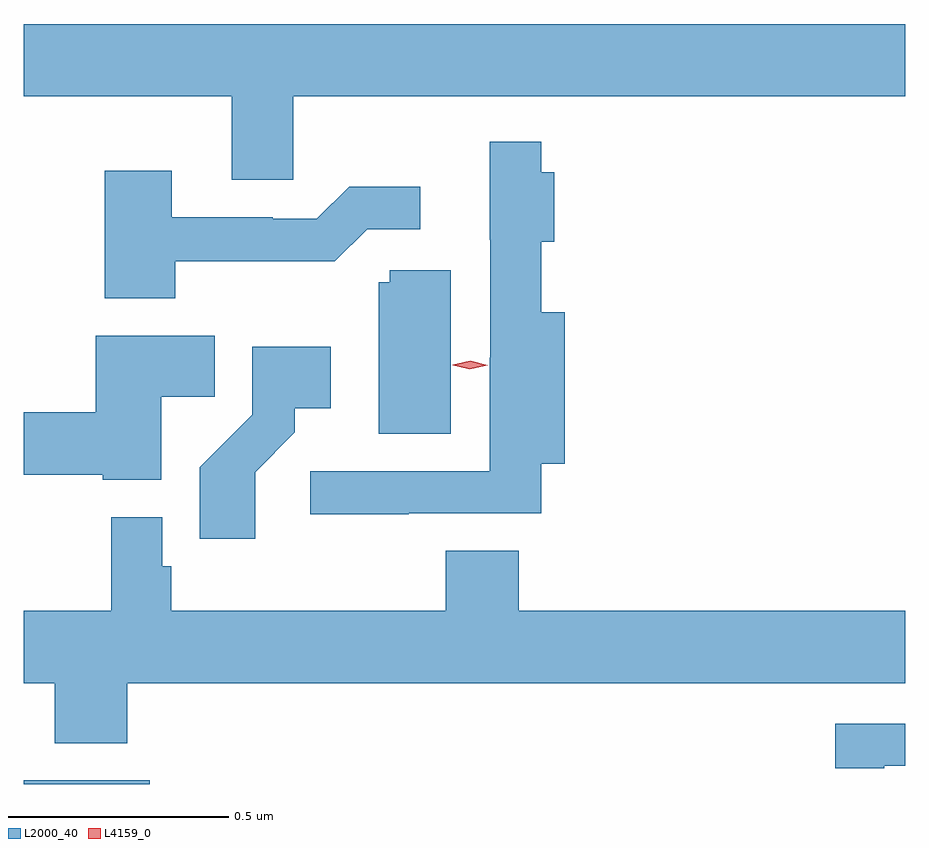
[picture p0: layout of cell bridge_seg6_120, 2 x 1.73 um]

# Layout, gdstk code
import gdstk
lib = gdstk.Library(unit=1e-6, precision=1e-09)
def R(c, l, rs):  # rectangles x0, y0, x1, y1
    for r in rs: c.add(gdstk.rectangle(r[:2], r[2:], *l))
def P(c, l, *ps):  # polygons
    for p in ps: c.add(gdstk.Polygon(p, *l))
L2000_40 = (2000, 40)
L4159_0 = (4159, 0)

bridge_seg6_120 = lib.new_cell('bridge_seg6_120')
R(bridge_seg6_120, L2000_40, [(412.711,960.427,412.997,960.435)])
P(bridge_seg6_120, L2000_40, [(413.322,961.988),(414.711,961.988),(414.711,962.152),(412.711,962.152),(412.711,961.988),(413.183,961.988),(413.183,961.798),(413.322,961.798)],
  [(413.585,961.041),(413.885,961.041),(413.885,961.154),(413.939,961.154),(413.939,961.498),(413.885,961.498),(413.885,961.658),(413.915,961.658),(413.915,961.816),(413.885,961.816),(413.885,961.885),(413.768,961.885),(413.768,961.662),(413.769,961.662),(413.769,961.394),(413.768,961.394),(413.768,961.137),(413.361,961.137),(413.361,961.039),(413.585,961.039)],
  [(413.055,961.614),(413.318,961.614),(413.318,961.613),(413.417,961.613),(413.49,961.686),(413.611,961.686),(413.611,961.783),(413.449,961.783),(413.376,961.71),(413.276,961.71),(413.276,961.713),(413.047,961.713),(413.047,961.819),(412.895,961.819),(412.895,961.529),(413.055,961.529)],
  [(413.68,961.593),(413.541,961.593),(413.541,961.566),(413.516,961.566),(413.516,961.222),(413.68,961.222)],
  [(413.023,961.306),(413.144,961.306),(413.144,961.444),(412.874,961.444),(412.874,961.271),(412.711,961.271),(412.711,961.129),(412.89,961.129),(412.89,961.118),(413.023,961.118)],
  [(413.236,961.135),(413.326,961.225),(413.326,961.28),(413.407,961.28),(413.407,961.42),(413.229,961.42),(413.229,961.265),(413.11,961.146),(413.11,960.984),(413.236,960.984)],
  [(412.946,960.656),(414.711,960.656),(414.711,960.82),(413.834,960.82),(413.834,960.956),(413.669,960.956),(413.669,960.82),(413.045,960.82),(413.045,960.921),(413.025,960.921),(413.025,961.033),(412.909,961.033),(412.909,960.82),(412.711,960.82),(412.711,960.656),(412.781,960.656),(412.781,960.52),(412.946,960.52)],
  [(414.664,960.468),(414.711,960.468),(414.711,960.564),(414.552,960.564),(414.552,960.463),(414.664,960.463)])
P(bridge_seg6_120, L4159_0, [(413.723,961.368),(413.684,961.378),(413.684,961.379),(413.684,961.379),(413.724,961.388),(413.764,961.378),(413.764,961.377),(413.764,961.377)])

lib.write_gds('bridge_seg6_120.gds')
